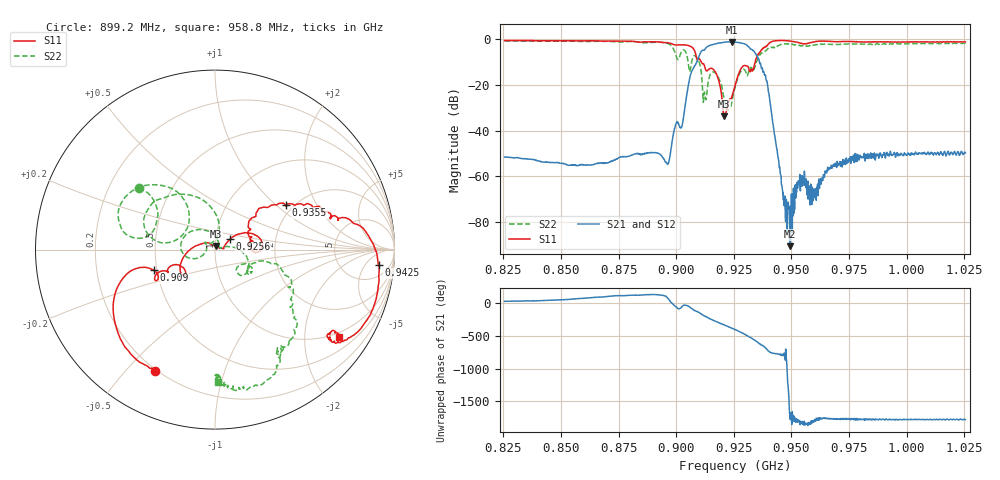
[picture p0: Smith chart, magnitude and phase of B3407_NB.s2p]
! Matrix data file written by TouchstoneData, EPCOS AG
! FILENAME: "newformat_AK18A.PCB7.MB.s2p"
! COMMENT: "(AK18A.PCB7.MB.s2p)"
! INFO: nport=2, nfreq=1601
! DATE: "Fri Apr 18 08:50:00 2014"
! USER: "Lynn Zhu"
! port | pin | signal
!  1  |  2  |  IN
!  2  |  5  |  OUT
# MHZ S MA R 50
! freq  magS11 angS11  magS21 angS21  magS12 angS12  magS22 angS22
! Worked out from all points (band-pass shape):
!   1601 points, 825.5 MHz to 1.026 GHz, reference 50 ohm
!   highest |S21| = -1.17 dB at 924.1 MHz (marker M1); lowest = -90.6 dB at 949.5 MHz (marker M2)
!   |S21| within 3 dB of the highest: 912.6 MHz to 932.2 MHz (19.6 MHz wide, 2.12 % of centre)
!   lowest |S11| = -33.8 dB at 920.9 MHz (marker M3), VSWR 1.04, Z = 50.6 + j1.98 ohm
!   |S11| at or under -10 dB: 910.9 MHz to 934.3 MHz (23.44 MHz wide, 2.54 % of centre)
!   |S22| runs from -31.2 to -0.7 dB; largest |S21 - S12| = 0.0039
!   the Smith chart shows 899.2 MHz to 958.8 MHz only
!   S11 on the Smith chart (normalised r, x): 899.2 MHz: 0.19, -0.60; 909 MHz: 0.48, -0.13; 925.6 MHz: 1.17, +0.14; 935.5 MHz: 1.83, +1.17; 942.5 MHz: 10, -11; 958.8 MHz: 0.84, -2.93
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825.5  0.9374 -71.4  0.002627 25.3  0.002622 25.3  0.9181 -133.0
858.875  0.9187 -79.8  0.001799 70.6  0.001804 71.0  0.893 -145.0
892.25  0.8724 -103.4  0.00317 126.7  0.003156 126.5  0.8637 -179.7
896.375  0.8367 -111.1  0.001845 73.1  0.00184 73.1  0.8065 161.1
899.25  0.7528 -116.5  0.01118 -41.0  0.01114 -40.9  0.5458 140.9
909  0.3597 -161.4  0.3211 -130.7  0.3198 -130.7  0.39 129.6
913.375  0.2035 -144.4  0.6835 142.9  0.6807 143.0  0.0751 -155.2
916.625  0.2024 -159.0  0.783 87.4  0.7797 87.5  0.1881 160.4
920.875  0.02047 72.8  0.8577 24.6  0.8543 24.7  0.04773 67.4
924.125  0.05458 19.0  0.8735 -23.6  0.8699 -23.5  0.04234 18.7
925.5  0.09573 34.1  0.8641 -44.6  0.8604 -44.6  0.08713 10.7
925.625  0.1007 34.6  0.8633 -46.6  0.8597 -46.5  0.09223 9.6
931.125  0.2523 -1.9  0.7005 -145.5  0.6978 -145.4  0.1706 -28.3
935.5  0.4679 32.1  0.368 115.0  0.3666 115.1  0.3942 -17.5
942.5  0.9154 -5.5  0.00911 -48.9  0.009078 -48.8  0.6482 -57.6
947.25  0.9319 -25.3  0.0002033 -120.4  0.00019 -120.4  0.7886 -73.8
949.5  0.9096 -31.5  2.935e-05 21.4  2.14e-05 0.2  0.7931 -81.7
954.125  0.8153 -38.2  0.001004 -19.2  0.0009887 -19.3  0.7237 -88.4
958.75  0.849 -35.2  0.0005991 -37.8  0.000595 -38.3  0.7374 -88.5
958.875  0.8521 -35.1  0.000241 -2.5  0.0002316 -2.9  0.7373 -89.1
992.25  0.872 -55.2  0.002847 17.7  0.002837 17.8  0.7762 -108.3
1025.5  0.8695 -60.5  0.003238 19.1  0.003226 19.0  0.8039 -115.4
